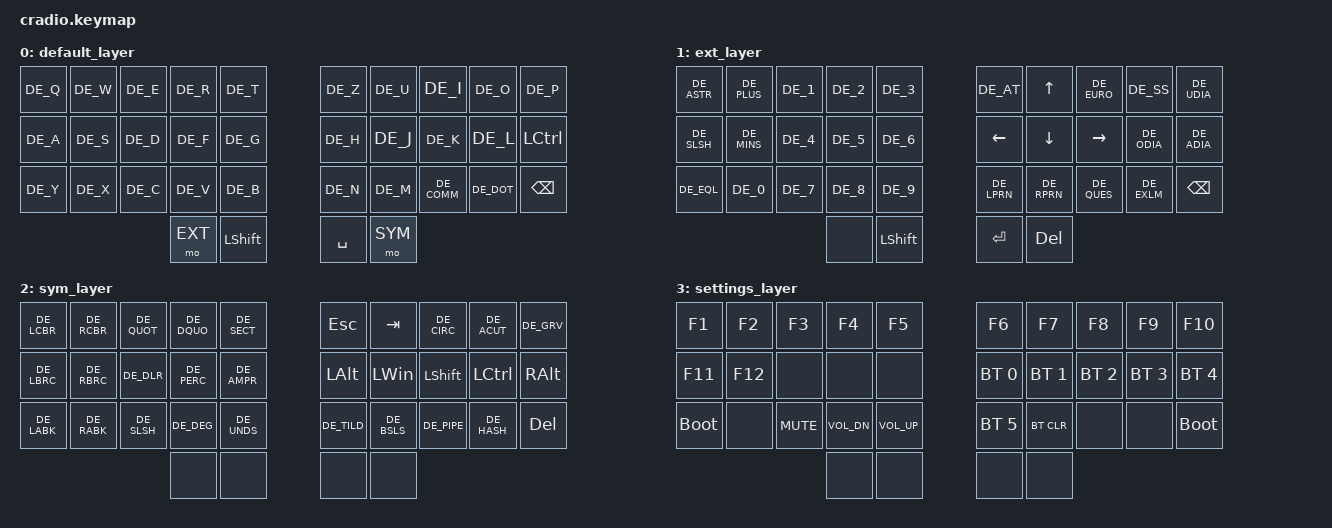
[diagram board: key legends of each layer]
/*
 * Copyright (c) 2020 The ZMK Contributors
 *
 * SPDX-License-Identifier: MIT
 */
 
#include <behaviors.dtsi>
#include <dt-bindings/zmk/keys.h>
#include <dt-bindings/zmk/bt.h>
#include "german.keycodes"

// Layer definitions
    #define BASE 0
    #define EXT 1
    #define SYM 2
	#define SETTINGS 3
	
&mt {
  //  flavor = "tap-preferred";
   // tapping_term_ms = <200>;
};

/ { 

    combos {
        compatible = "zmk,combos";
        // both left thumb keys
	combo_settings {
			timeout-ms = <300>;
			key-positions = <30 31>;
			bindings = <&mo SETTINGS>;
				};
        

        
    };

        keymap {
                compatible = "zmk,keymap";
                
       // Base alpha layer
       		default_layer {
		bindings = <
		&kp DE_Q &kp DE_W &kp DE_E &kp DE_R &kp DE_T 						&kp DE_Z &kp DE_U  &kp DE_I    &kp DE_O   &kp DE_P 
		&kp DE_A &kp DE_S &kp DE_D &kp DE_F &kp DE_G 			        	        &kp DE_H &kp DE_J &kp DE_K &kp DE_L &kp LCTRL
		&kp DE_Y &kp DE_X &kp DE_C &kp DE_V &kp DE_B				      		&kp DE_N &kp DE_M  &kp DE_COMM &kp DE_DOT &kp BSPC
          				&mo EXT &kp LSHIFT  						&kp SPC &mo SYM
		>;
		};

 	// Main modifiers and arrow keys
       		ext_layer {
		bindings = <
		&kp DE_ASTR  	&kp DE_PLUS    &kp DE_1    &kp DE_2    &kp DE_3			&kp DE_AT &kp UP &kp DE_EURO &kp DE_SS &kp DE_UDIA 
		&kp DE_SLSH    &kp DE_MINS    &kp DE_4      &kp DE_5     &kp DE_6 		&kp LEFT &kp DOWN  &kp RIGHT &kp DE_ODIA  &kp DE_ADIA 
		&kp DE_EQL    &kp DE_0 		&kp DE_7  &kp DE_8  &kp DE_9 			&kp DE_LPRN &kp DE_RPRN &kp DE_QUES &kp DE_EXLM  &kp BSPC 
					    &none  &kp LSHIFT  					&kp RET &kp DEL 
		>;
		};
		
        // High frequency symbols
		sym_layer {
		bindings = <
		&kp DE_LCBR  &kp DE_RCBR &kp DE_QUOT  &kp DE_DQUO  &kp DE_SECT    			&kp ESC  &kp TAB &kp DE_CIRC &kp DE_ACUT &kp DE_GRV 
		&kp DE_LBRC  &kp DE_RBRC  &kp DE_DLR  &kp DE_PERC  &kp DE_AMPR 				&kp LALT &kp LWIN  &kp LSHFT  &kp LCTRL   &kp RALT
		&kp DE_LABK  &kp DE_RABK  &kp DE_SLSH  &kp DE_DEG   &kp DE_UNDS    			&kp DE_TILD  &kp DE_BSLS  &kp DE_PIPE  &kp DE_HASH   &kp DEL
					  &none &none  							&none  &none 
		>;
		};	
		
	// Used to change the keyboard's settings.
		settings_layer {
		bindings = <
		&kp F1  &kp F2    &kp F3    &kp F4    &kp F5 			&kp F6	 &kp F7   &kp F8   &kp F9  &kp F10
		&kp F11 &kp F12 &none &none &none  						&bt BT_SEL 0 &bt BT_SEL 1  &bt BT_SEL 2 &bt BT_SEL 3 &bt BT_SEL 4 
		&bootloader  &none &kp K_MUTE &kp K_VOL_DN &kp K_VOL_UP   				&bt BT_SEL 5 &bt BT_CLR  &none  &none &bootloader   
				 &none &none  					&none &none 
		>;
		};	
        
	};
};
